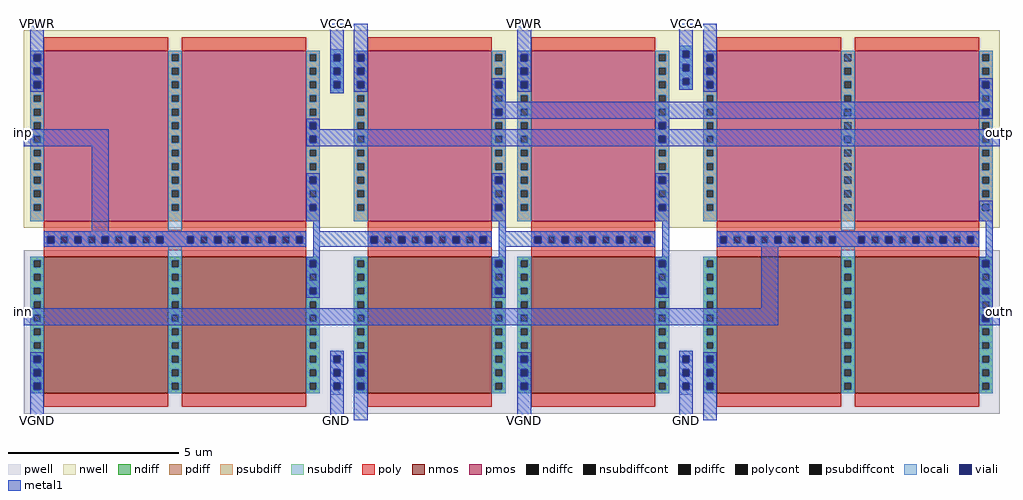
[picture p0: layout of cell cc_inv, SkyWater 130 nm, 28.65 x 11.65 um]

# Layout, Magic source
magic
tech sky130A
<< nwell >>
rect -30 1015 -10 1035
rect -30 975 -10 995
rect 780 815 800 835
rect 810 795 825 815
rect 830 525 890 1105
rect 920 1015 940 1035
rect 1400 1015 1420 1035
rect 1840 995 1940 1105
rect 1945 1015 1965 1035
rect 920 975 940 995
rect 1400 975 1420 995
rect 1840 975 1935 995
rect 1945 975 1965 995
rect 1335 955 1355 965
rect 1325 935 1355 955
rect 1335 920 1355 935
rect 1840 940 1940 975
rect 1840 915 1935 940
rect 1850 865 1925 915
rect 1805 655 1825 675
rect 1840 525 1940 865
rect 2730 855 2745 865
rect 2755 855 2775 875
rect 2730 845 2755 855
<< pwell >>
rect -60 -20 2805 460
rect -40 -40 0 -20
<< pmos >>
rect 2730 845 2745 865
<< ndiff >>
rect 2745 430 2785 440
<< pdiff >>
rect 1335 955 1355 965
rect 1345 935 1355 955
rect 1335 920 1355 935
rect 2745 845 2755 855
<< ndiffc >>
rect 1805 330 1825 350
rect 2755 330 2775 350
rect -30 90 -10 110
rect 920 90 940 110
rect 1400 90 1420 110
rect 1945 90 1965 110
rect -30 50 -10 70
rect 920 50 940 70
rect 1400 50 1420 70
rect 1945 50 1965 70
<< pdiffc >>
rect -30 1015 -10 1035
rect 920 1015 940 1035
rect 1400 1015 1420 1035
rect 1945 1015 1965 1035
rect -30 975 -10 995
rect 920 975 940 995
rect 1400 975 1420 995
rect 1945 975 1965 995
rect 1325 935 1345 955
rect 2755 855 2775 875
rect 780 815 800 835
rect 1805 655 1825 675
<< psubdiff >>
rect 840 150 880 165
rect 840 130 850 150
rect 870 130 880 150
rect 840 110 880 130
rect 1865 150 1905 165
rect 1865 130 1875 150
rect 1895 130 1905 150
rect 1865 110 1905 130
rect 840 90 850 110
rect 870 90 880 110
rect 1865 90 1875 110
rect 1895 90 1905 110
rect 840 70 880 90
rect 1865 70 1905 90
rect 840 50 850 70
rect 870 50 880 70
rect 1865 50 1875 70
rect 1895 50 1905 70
rect 840 35 880 50
rect 1865 35 1905 50
<< nsubdiff >>
rect 840 1035 880 1050
rect 1865 1045 1905 1060
rect 840 1015 850 1035
rect 870 1015 880 1035
rect 1865 1025 1875 1045
rect 1895 1025 1905 1045
rect 840 995 880 1015
rect 1865 1005 1905 1025
rect 840 975 850 995
rect 870 975 880 995
rect 1865 985 1875 1005
rect 1895 985 1905 1005
rect 840 955 880 975
rect 1865 965 1905 985
rect 840 935 850 955
rect 870 935 880 955
rect 840 920 880 935
rect 1865 945 1875 965
rect 1895 945 1905 965
rect 1865 930 1905 945
<< psubdiffcont >>
rect 850 130 870 150
rect 1875 130 1895 150
rect 850 90 870 110
rect 1875 90 1895 110
rect 850 50 870 70
rect 1875 50 1895 70
<< nsubdiffcont >>
rect 850 1015 870 1035
rect 1875 1025 1895 1045
rect 850 975 870 995
rect 1875 985 1895 1005
rect 850 935 870 955
rect 1875 945 1895 965
<< poly >>
rect 170 505 190 515
rect 365 470 405 515
rect 2340 470 2380 515
rect 2735 470 2745 515
<< polycont >>
rect 10 480 30 500
rect 50 480 70 500
rect 90 480 110 500
rect 130 480 150 500
rect 170 480 190 500
rect 210 480 230 500
rect 250 480 270 500
rect 290 480 310 500
rect 330 480 350 500
rect 420 480 440 500
rect 460 480 480 500
rect 500 480 520 500
rect 540 480 560 500
rect 580 480 600 500
rect 620 480 640 500
rect 660 480 680 500
rect 700 480 720 500
rect 740 480 760 500
rect 960 480 980 500
rect 1000 480 1020 500
rect 1040 480 1060 500
rect 1080 480 1100 500
rect 1120 480 1140 500
rect 1160 480 1180 500
rect 1200 480 1220 500
rect 1240 480 1260 500
rect 1280 480 1300 500
rect 1440 480 1460 500
rect 1480 480 1500 500
rect 1520 480 1540 500
rect 1560 480 1580 500
rect 1600 480 1620 500
rect 1640 480 1660 500
rect 1680 480 1700 500
rect 1720 480 1740 500
rect 1760 480 1780 500
rect 1985 480 2005 500
rect 2025 480 2045 500
rect 2065 480 2085 500
rect 2105 480 2125 500
rect 2145 480 2165 500
rect 2185 480 2205 500
rect 2225 480 2245 500
rect 2265 480 2285 500
rect 2305 480 2325 500
rect 2390 480 2410 500
rect 2430 480 2450 500
rect 2470 480 2490 500
rect 2510 480 2530 500
rect 2550 480 2570 500
rect 2590 480 2610 500
rect 2630 480 2650 500
rect 2670 480 2690 500
rect 2710 480 2730 500
<< locali >>
rect 840 1035 880 1050
rect 1865 1045 1905 1060
rect 840 1015 850 1035
rect 870 1015 880 1035
rect 1865 1025 1875 1045
rect 1895 1025 1905 1045
rect 840 995 880 1015
rect 1865 1005 1905 1025
rect 840 975 850 995
rect 870 975 880 995
rect 1865 985 1875 1005
rect 1895 985 1905 1005
rect 2340 995 2380 1045
rect 840 955 880 975
rect 1865 965 1905 985
rect 1335 955 1355 965
rect 840 935 850 955
rect 870 935 880 955
rect 1345 935 1355 955
rect 1865 945 1875 965
rect 1895 945 1905 965
rect 2340 960 2380 975
rect 840 920 880 935
rect 1335 920 1355 935
rect 1865 930 1905 945
rect 2375 940 2380 960
rect 2340 545 2380 865
rect 2745 845 2755 855
rect 2755 575 2775 595
rect 0 500 770 515
rect 0 480 10 500
rect 30 480 50 500
rect 70 480 90 500
rect 110 480 130 500
rect 150 480 170 500
rect 190 480 210 500
rect 230 480 250 500
rect 270 480 290 500
rect 310 480 330 500
rect 350 480 420 500
rect 440 480 460 500
rect 480 480 500 500
rect 520 480 540 500
rect 560 480 580 500
rect 600 480 620 500
rect 640 480 660 500
rect 680 480 700 500
rect 720 480 740 500
rect 760 480 770 500
rect 0 470 770 480
rect 790 440 810 545
rect 950 500 1315 515
rect 950 480 960 500
rect 980 480 1000 500
rect 1020 480 1040 500
rect 1060 480 1080 500
rect 1100 480 1120 500
rect 1140 480 1160 500
rect 1180 480 1200 500
rect 1220 480 1240 500
rect 1260 480 1280 500
rect 1300 480 1315 500
rect 950 470 1315 480
rect 1335 440 1355 545
rect 1430 500 1795 515
rect 1430 480 1440 500
rect 1460 480 1480 500
rect 1500 480 1520 500
rect 1540 480 1560 500
rect 1580 480 1600 500
rect 1620 480 1640 500
rect 1660 480 1680 500
rect 1700 480 1720 500
rect 1740 480 1760 500
rect 1780 480 1795 500
rect 1430 470 1795 480
rect 1815 440 1835 545
rect 1975 500 2745 515
rect 1975 480 1985 500
rect 2005 480 2025 500
rect 2045 480 2065 500
rect 2085 480 2105 500
rect 2125 480 2145 500
rect 2165 480 2185 500
rect 2205 480 2225 500
rect 2245 480 2265 500
rect 2285 480 2305 500
rect 2325 480 2390 500
rect 2410 480 2430 500
rect 2450 480 2470 500
rect 2490 480 2510 500
rect 2530 480 2550 500
rect 2570 480 2590 500
rect 2610 480 2630 500
rect 2650 480 2670 500
rect 2690 480 2710 500
rect 2730 480 2745 500
rect 1975 470 2745 480
rect 2765 440 2785 545
rect 2745 430 2785 440
rect 840 150 880 165
rect 1865 150 1905 165
rect 840 130 850 150
rect 870 130 880 150
rect 1865 130 1875 150
rect 1895 130 1905 150
rect 840 110 880 130
rect 1865 110 1905 130
rect 840 90 850 110
rect 870 90 880 110
rect 1865 90 1875 110
rect 1895 90 1905 110
rect 840 70 880 90
rect 1865 70 1905 90
rect 840 50 850 70
rect 870 50 880 70
rect 1865 50 1875 70
rect 1895 50 1905 70
rect 840 35 880 50
rect 1865 35 1905 50
<< viali >>
rect -30 1015 -10 1035
rect 850 1015 870 1035
rect 920 1015 940 1035
rect 1400 1015 1420 1035
rect 1875 1025 1895 1045
rect 1945 1015 1965 1035
rect -30 975 -10 995
rect 850 975 870 995
rect 920 975 940 995
rect 1400 975 1420 995
rect 1875 985 1895 1005
rect 1945 975 1965 995
rect -30 935 -10 955
rect 850 935 870 955
rect 920 935 940 955
rect 1325 935 1345 955
rect 1400 935 1420 955
rect 1875 945 1895 965
rect 1945 935 1965 955
rect 2755 935 2775 955
rect 1325 855 1345 875
rect 780 815 800 835
rect 1805 815 1825 835
rect 780 775 800 795
rect 1805 775 1825 795
rect 780 655 800 675
rect 1325 655 1345 675
rect 1805 655 1825 675
rect 780 575 800 595
rect 1325 575 1345 595
rect 1805 575 1825 595
rect 2755 855 2775 875
rect 10 480 30 500
rect 90 480 110 500
rect 170 480 190 500
rect 250 480 270 500
rect 330 480 350 500
rect 420 480 440 500
rect 500 480 520 500
rect 580 480 600 500
rect 660 480 680 500
rect 740 480 760 500
rect 960 480 980 500
rect 1040 480 1060 500
rect 1120 480 1140 500
rect 1200 480 1220 500
rect 1280 480 1300 500
rect 1440 480 1460 500
rect 1520 480 1540 500
rect 1600 480 1620 500
rect 1680 480 1700 500
rect 1760 480 1780 500
rect 1985 480 2005 500
rect 2065 480 2085 500
rect 2145 480 2165 500
rect 2225 480 2245 500
rect 2305 480 2325 500
rect 2390 480 2410 500
rect 2470 480 2490 500
rect 2550 480 2570 500
rect 2630 480 2650 500
rect 2710 480 2730 500
rect 780 410 800 430
rect 1325 410 1345 430
rect 1805 410 1825 430
rect 2755 410 2775 430
rect 780 330 800 350
rect 1325 330 1345 350
rect 1805 330 1825 350
rect 2755 330 2775 350
rect 2755 250 2775 270
rect -30 130 -10 150
rect 850 130 870 150
rect 920 130 940 150
rect 1400 130 1420 150
rect 1875 130 1895 150
rect 1945 130 1965 150
rect -30 90 -10 110
rect 850 90 870 110
rect 920 90 940 110
rect 1400 90 1420 110
rect 1875 90 1895 110
rect 1945 90 1965 110
rect -30 50 -10 70
rect 850 50 870 70
rect 920 50 940 70
rect 1400 50 1420 70
rect 1875 50 1895 70
rect 1945 50 1965 70
<< metal1 >>
rect -40 1035 0 1125
rect -40 1015 -30 1035
rect -10 1015 0 1035
rect -40 995 0 1015
rect -40 975 -30 995
rect -10 975 0 995
rect -40 955 0 975
rect -40 935 -30 955
rect -10 935 0 955
rect -40 925 0 935
rect 840 1035 880 1125
rect 840 1015 850 1035
rect 870 1015 880 1035
rect 840 995 880 1015
rect 840 975 850 995
rect 870 975 880 995
rect 840 955 880 975
rect 840 935 850 955
rect 870 935 880 955
rect 840 920 880 935
rect 910 1035 950 1125
rect 910 1015 920 1035
rect 940 1015 950 1035
rect 910 995 950 1015
rect 910 975 920 995
rect 940 975 950 995
rect 910 955 950 975
rect 1390 1035 1430 1125
rect 1390 1015 1400 1035
rect 1420 1015 1430 1035
rect 1390 995 1430 1015
rect 1390 975 1400 995
rect 1420 975 1430 995
rect 910 935 920 955
rect 940 935 950 955
rect 910 925 950 935
rect 1315 955 1355 965
rect 1315 935 1325 955
rect 1345 935 1355 955
rect 1315 895 1355 935
rect 1390 955 1430 975
rect 1390 935 1400 955
rect 1420 935 1430 955
rect 1390 925 1430 935
rect 1865 1045 1905 1125
rect 1865 1025 1875 1045
rect 1895 1025 1905 1045
rect 1865 1005 1905 1025
rect 1865 985 1875 1005
rect 1895 985 1905 1005
rect 1865 965 1905 985
rect 1865 945 1875 965
rect 1895 945 1905 965
rect 1865 930 1905 945
rect 1935 1035 1975 1125
rect 1935 1015 1945 1035
rect 1965 1015 1975 1035
rect 1935 995 1975 1015
rect 1935 975 1945 995
rect 1965 975 1975 995
rect 1935 955 1975 975
rect 1935 935 1945 955
rect 1965 935 1975 955
rect 1935 925 1975 935
rect 2745 955 2785 965
rect 2745 935 2755 955
rect 2775 935 2785 955
rect 2745 895 2785 935
rect 1315 875 2785 895
rect 1315 855 1325 875
rect 1345 855 2755 875
rect 2775 855 2785 875
rect 1315 845 2785 855
rect 770 835 810 845
rect 770 815 780 835
rect 800 815 810 835
rect 1795 835 1835 845
rect 1795 815 1805 835
rect 1825 815 1835 835
rect -60 765 190 815
rect 770 795 2805 815
rect 770 775 780 795
rect 800 775 1805 795
rect 1825 775 2805 795
rect 770 765 2805 775
rect 140 515 190 765
rect 770 675 810 685
rect 770 655 780 675
rect 800 655 810 675
rect 770 595 810 655
rect 770 575 780 595
rect 800 575 810 595
rect 770 545 810 575
rect 1315 675 1355 685
rect 1315 655 1325 675
rect 1345 655 1355 675
rect 1315 595 1355 655
rect 1315 575 1325 595
rect 1345 575 1355 595
rect 1315 545 1355 575
rect 1795 675 1835 685
rect 1795 655 1805 675
rect 1825 655 1835 675
rect 1795 595 1835 655
rect 1795 575 1805 595
rect 1825 575 1835 595
rect 1795 545 1835 575
rect 2745 545 2785 605
rect 790 515 810 545
rect 1335 515 1355 545
rect 0 500 770 515
rect 0 480 10 500
rect 30 480 90 500
rect 110 480 170 500
rect 190 480 250 500
rect 270 480 330 500
rect 350 480 420 500
rect 440 480 500 500
rect 520 480 580 500
rect 600 480 660 500
rect 680 480 740 500
rect 760 480 770 500
rect 0 470 770 480
rect 790 500 1315 515
rect 790 480 960 500
rect 980 480 1040 500
rect 1060 480 1120 500
rect 1140 480 1200 500
rect 1220 480 1280 500
rect 1300 480 1315 500
rect 790 470 1315 480
rect 1335 500 1795 515
rect 1335 480 1440 500
rect 1460 480 1520 500
rect 1540 480 1600 500
rect 1620 480 1680 500
rect 1700 480 1760 500
rect 1780 480 1795 500
rect 1335 470 1795 480
rect 790 440 810 470
rect 1335 440 1355 470
rect 1815 440 1835 545
rect 1975 500 2745 515
rect 1975 480 1985 500
rect 2005 480 2065 500
rect 2085 480 2145 500
rect 2165 480 2225 500
rect 2245 480 2305 500
rect 2325 480 2390 500
rect 2410 480 2470 500
rect 2490 480 2550 500
rect 2570 480 2630 500
rect 2650 480 2710 500
rect 2730 480 2745 500
rect 1975 470 2745 480
rect 770 430 810 440
rect 770 410 780 430
rect 800 410 810 430
rect 770 350 810 410
rect 770 330 780 350
rect 800 330 810 350
rect 770 320 810 330
rect 1315 430 1355 440
rect 1315 410 1325 430
rect 1345 410 1355 430
rect 1315 350 1355 410
rect 1315 330 1325 350
rect 1345 330 1355 350
rect 1315 320 1355 330
rect 1795 430 1835 440
rect 1795 410 1805 430
rect 1825 410 1835 430
rect 1795 350 1835 410
rect 1795 330 1805 350
rect 1825 330 1835 350
rect 1795 320 1835 330
rect 2105 290 2155 470
rect 2765 440 2785 545
rect -60 240 2155 290
rect 2745 430 2785 440
rect 2745 410 2755 430
rect 2775 410 2785 430
rect 2745 350 2785 410
rect 2745 330 2755 350
rect 2775 330 2785 350
rect 2745 290 2785 330
rect 2745 270 2805 290
rect 2745 250 2755 270
rect 2775 250 2805 270
rect 2745 240 2805 250
rect -40 150 0 160
rect -40 130 -30 150
rect -10 130 0 150
rect -40 110 0 130
rect -40 90 -30 110
rect -10 90 0 110
rect -40 70 0 90
rect -40 50 -30 70
rect -10 50 0 70
rect -40 -40 0 50
rect 840 150 880 165
rect 840 130 850 150
rect 870 130 880 150
rect 840 110 880 130
rect 840 90 850 110
rect 870 90 880 110
rect 840 70 880 90
rect 840 50 850 70
rect 870 50 880 70
rect 840 -40 880 50
rect 910 150 950 160
rect 910 130 920 150
rect 940 130 950 150
rect 910 110 950 130
rect 910 90 920 110
rect 940 90 950 110
rect 910 70 950 90
rect 910 50 920 70
rect 940 50 950 70
rect 910 -40 950 50
rect 1390 150 1430 160
rect 1390 130 1400 150
rect 1420 130 1430 150
rect 1390 110 1430 130
rect 1390 90 1400 110
rect 1420 90 1430 110
rect 1390 70 1430 90
rect 1390 50 1400 70
rect 1420 50 1430 70
rect 1390 -40 1430 50
rect 1865 150 1905 165
rect 1865 130 1875 150
rect 1895 130 1905 150
rect 1865 110 1905 130
rect 1865 90 1875 110
rect 1895 90 1905 110
rect 1865 70 1905 90
rect 1865 50 1875 70
rect 1895 50 1905 70
rect 1865 -40 1905 50
rect 1935 150 1975 160
rect 1935 130 1945 150
rect 1965 130 1975 150
rect 1935 110 1975 130
rect 1935 90 1945 110
rect 1965 90 1975 110
rect 1935 70 1975 90
rect 1935 50 1945 70
rect 1965 50 1975 70
rect 1935 -40 1975 50
use inv  inv_2
transform 1 0 950 0 1 545
box -60 -545 425 560
use inv  inv_3
transform 1 0 1430 0 1 545
box -60 -545 425 560
use main_inv_vco  main_inv_vco_0
transform 1 0 0 0 1 545
box -60 -545 830 560
use main_inv_vco  main_inv_vco_1
transform 1 0 1975 0 1 545
box -60 -545 830 560
<< labels >>
rlabel metal1 -60 805 -60 805 7 inp
port 1 w
rlabel metal1 -60 280 -60 280 7 inn
port 2 w
rlabel metal1 2805 805 2805 805 3 outp
port 3 e
rlabel metal1 2805 280 2805 280 3 outn
port 4 e
rlabel metal1 860 1125 860 1125 1 VCCA
port 5 n
rlabel metal1 1885 1125 1885 1125 1 VCCA
port 6 n
rlabel metal1 860 -40 860 -40 5 GND
port 7 s
rlabel metal1 1885 -40 1885 -40 5 GND
port 8 s
rlabel metal1 -20 1125 -20 1125 1 VPWR
port 9 n
rlabel metal1 930 1125 930 1125 1 VPWR
port 10 n
rlabel metal1 1410 1125 1410 1125 1 VPWR
port 11 n
rlabel metal1 1955 1125 1955 1125 1 VPWR
port 12 n
rlabel metal1 -20 -40 -20 -40 5 VGND
port 13 s
rlabel metal1 930 -40 930 -40 5 VGND
port 14 s
rlabel metal1 1410 -40 1410 -40 5 VGND
port 15 s
rlabel metal1 1955 -40 1955 -40 5 VGND
port 16 s
<< end >>

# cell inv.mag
magic
tech sky130A
<< nwell >>
rect -60 -20 425 560
<< nmos >>
rect 0 -505 365 -105
<< pmos >>
rect 0 0 365 500
<< ndiff >>
rect -40 -115 0 -105
rect -40 -135 -30 -115
rect -10 -135 0 -115
rect -40 -155 0 -135
rect -40 -175 -30 -155
rect -10 -175 0 -155
rect -40 -195 0 -175
rect -40 -215 -30 -195
rect -10 -215 0 -195
rect -40 -235 0 -215
rect -40 -255 -30 -235
rect -10 -255 0 -235
rect -40 -275 0 -255
rect -40 -295 -30 -275
rect -10 -295 0 -275
rect -40 -315 0 -295
rect -40 -335 -30 -315
rect -10 -335 0 -315
rect -40 -355 0 -335
rect -40 -375 -30 -355
rect -10 -375 0 -355
rect -40 -395 0 -375
rect -40 -415 -30 -395
rect -10 -415 0 -395
rect -40 -435 0 -415
rect -40 -455 -30 -435
rect -10 -455 0 -435
rect -40 -475 0 -455
rect -40 -495 -30 -475
rect -10 -495 0 -475
rect -40 -505 0 -495
rect 365 -115 405 -105
rect 365 -135 375 -115
rect 395 -135 405 -115
rect 365 -155 405 -135
rect 365 -175 375 -155
rect 395 -175 405 -155
rect 365 -195 405 -175
rect 365 -215 375 -195
rect 395 -215 405 -195
rect 365 -235 405 -215
rect 365 -255 375 -235
rect 395 -255 405 -235
rect 365 -275 405 -255
rect 365 -295 375 -275
rect 395 -295 405 -275
rect 365 -315 405 -295
rect 365 -335 375 -315
rect 395 -335 405 -315
rect 365 -355 405 -335
rect 365 -375 375 -355
rect 395 -375 405 -355
rect 365 -395 405 -375
rect 365 -415 375 -395
rect 395 -415 405 -395
rect 365 -435 405 -415
rect 365 -455 375 -435
rect 395 -455 405 -435
rect 365 -475 405 -455
rect 365 -495 375 -475
rect 395 -495 405 -475
rect 365 -505 405 -495
<< pdiff >>
rect -40 490 0 500
rect -40 470 -30 490
rect -10 470 0 490
rect -40 450 0 470
rect -40 430 -30 450
rect -10 430 0 450
rect -40 410 0 430
rect -40 390 -30 410
rect -10 390 0 410
rect -40 370 0 390
rect -40 350 -30 370
rect -10 350 0 370
rect -40 330 0 350
rect -40 310 -30 330
rect -10 310 0 330
rect -40 290 0 310
rect -40 270 -30 290
rect -10 270 0 290
rect -40 250 0 270
rect -40 230 -30 250
rect -10 230 0 250
rect -40 210 0 230
rect -40 190 -30 210
rect -10 190 0 210
rect -40 170 0 190
rect -40 150 -30 170
rect -10 150 0 170
rect -40 130 0 150
rect -40 110 -30 130
rect -10 110 0 130
rect -40 90 0 110
rect -40 70 -30 90
rect -10 70 0 90
rect -40 50 0 70
rect -40 30 -30 50
rect -10 30 0 50
rect -40 0 0 30
rect 365 490 405 500
rect 365 470 375 490
rect 395 470 405 490
rect 365 450 405 470
rect 365 430 375 450
rect 395 430 405 450
rect 365 410 405 430
rect 365 390 375 410
rect 395 390 405 410
rect 365 370 405 390
rect 365 350 375 370
rect 395 350 405 370
rect 365 330 405 350
rect 365 310 375 330
rect 395 310 405 330
rect 365 290 405 310
rect 365 270 375 290
rect 395 270 405 290
rect 365 250 405 270
rect 365 230 375 250
rect 395 230 405 250
rect 365 210 405 230
rect 365 190 375 210
rect 395 190 405 210
rect 365 170 405 190
rect 365 150 375 170
rect 395 150 405 170
rect 365 130 405 150
rect 365 110 375 130
rect 395 110 405 130
rect 365 90 405 110
rect 365 70 375 90
rect 395 70 405 90
rect 365 50 405 70
rect 365 30 375 50
rect 395 30 405 50
rect 365 0 405 30
<< ndiffc >>
rect -30 -135 -10 -115
rect -30 -175 -10 -155
rect -30 -215 -10 -195
rect -30 -255 -10 -235
rect -30 -295 -10 -275
rect -30 -335 -10 -315
rect -30 -375 -10 -355
rect -30 -415 -10 -395
rect -30 -455 -10 -435
rect -30 -495 -10 -475
rect 375 -135 395 -115
rect 375 -175 395 -155
rect 375 -215 395 -195
rect 375 -255 395 -235
rect 375 -295 395 -275
rect 375 -335 395 -315
rect 375 -375 395 -355
rect 375 -415 395 -395
rect 375 -455 395 -435
rect 375 -495 395 -475
<< pdiffc >>
rect -30 470 -10 490
rect -30 430 -10 450
rect -30 390 -10 410
rect -30 350 -10 370
rect -30 310 -10 330
rect -30 270 -10 290
rect -30 230 -10 250
rect -30 190 -10 210
rect -30 150 -10 170
rect -30 110 -10 130
rect -30 70 -10 90
rect -30 30 -10 50
rect 375 470 395 490
rect 375 430 395 450
rect 375 390 395 410
rect 375 350 395 370
rect 375 310 395 330
rect 375 270 395 290
rect 375 230 395 250
rect 375 190 395 210
rect 375 150 395 170
rect 375 110 395 130
rect 375 70 395 90
rect 375 30 395 50
<< poly >>
rect 0 500 365 540
rect 0 -105 365 0
rect 0 -545 365 -505
<< locali >>
rect -40 490 0 500
rect -40 470 -30 490
rect -10 470 0 490
rect -40 450 0 470
rect -40 430 -30 450
rect -10 430 0 450
rect -40 410 0 430
rect -40 390 -30 410
rect -10 390 0 410
rect -40 370 0 390
rect -40 350 -30 370
rect -10 350 0 370
rect -40 330 0 350
rect -40 310 -30 330
rect -10 310 0 330
rect -40 290 0 310
rect -40 270 -30 290
rect -10 270 0 290
rect -40 250 0 270
rect -40 230 -30 250
rect -10 230 0 250
rect -40 210 0 230
rect -40 190 -30 210
rect -10 190 0 210
rect -40 170 0 190
rect -40 150 -30 170
rect -10 150 0 170
rect -40 130 0 150
rect -40 110 -30 130
rect -10 110 0 130
rect -40 90 0 110
rect -40 70 -30 90
rect -10 70 0 90
rect -40 50 0 70
rect -40 30 -30 50
rect -10 30 0 50
rect -40 0 0 30
rect 365 490 405 500
rect 365 470 375 490
rect 395 470 405 490
rect 365 450 405 470
rect 365 430 375 450
rect 395 430 405 450
rect 365 410 405 430
rect 365 390 375 410
rect 395 390 405 410
rect 365 370 405 390
rect 365 350 375 370
rect 395 350 405 370
rect 365 330 405 350
rect 365 310 375 330
rect 395 310 405 330
rect 365 290 405 310
rect 365 270 375 290
rect 395 270 405 290
rect 365 250 405 270
rect 365 230 375 250
rect 395 230 405 250
rect 365 210 405 230
rect 365 190 375 210
rect 395 190 405 210
rect 365 170 405 190
rect 365 150 375 170
rect 395 150 405 170
rect 365 130 405 150
rect 365 110 375 130
rect 395 110 405 130
rect 365 90 405 110
rect 365 70 375 90
rect 395 70 405 90
rect 365 50 405 70
rect 365 30 375 50
rect 395 30 405 50
rect 365 0 405 30
rect -40 -115 0 -105
rect -40 -135 -30 -115
rect -10 -135 0 -115
rect -40 -155 0 -135
rect -40 -175 -30 -155
rect -10 -175 0 -155
rect -40 -195 0 -175
rect -40 -215 -30 -195
rect -10 -215 0 -195
rect -40 -235 0 -215
rect -40 -255 -30 -235
rect -10 -255 0 -235
rect -40 -275 0 -255
rect -40 -295 -30 -275
rect -10 -295 0 -275
rect -40 -315 0 -295
rect -40 -335 -30 -315
rect -10 -335 0 -315
rect -40 -355 0 -335
rect -40 -375 -30 -355
rect -10 -375 0 -355
rect -40 -395 0 -375
rect -40 -415 -30 -395
rect -10 -415 0 -395
rect -40 -435 0 -415
rect -40 -455 -30 -435
rect -10 -455 0 -435
rect -40 -475 0 -455
rect -40 -495 -30 -475
rect -10 -495 0 -475
rect -40 -505 0 -495
rect 365 -115 405 -105
rect 365 -135 375 -115
rect 395 -135 405 -115
rect 365 -155 405 -135
rect 365 -175 375 -155
rect 395 -175 405 -155
rect 365 -195 405 -175
rect 365 -215 375 -195
rect 395 -215 405 -195
rect 365 -235 405 -215
rect 365 -255 375 -235
rect 395 -255 405 -235
rect 365 -275 405 -255
rect 365 -295 375 -275
rect 395 -295 405 -275
rect 365 -315 405 -295
rect 365 -335 375 -315
rect 395 -335 405 -315
rect 365 -355 405 -335
rect 365 -375 375 -355
rect 395 -375 405 -355
rect 365 -395 405 -375
rect 365 -415 375 -395
rect 395 -415 405 -395
rect 365 -435 405 -415
rect 365 -455 375 -435
rect 395 -455 405 -435
rect 365 -475 405 -455
rect 365 -495 375 -475
rect 395 -495 405 -475
rect 365 -505 405 -495
<< end >>

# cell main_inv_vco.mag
magic
tech sky130A
<< nwell >>
rect -60 -20 830 560
<< nmos >>
rect 0 -505 365 -105
rect 405 -505 770 -105
<< pmos >>
rect 0 0 365 500
rect 405 0 770 500
<< ndiff >>
rect -40 -115 0 -105
rect -40 -135 -30 -115
rect -10 -135 0 -115
rect -40 -155 0 -135
rect -40 -175 -30 -155
rect -10 -175 0 -155
rect -40 -195 0 -175
rect -40 -215 -30 -195
rect -10 -215 0 -195
rect -40 -235 0 -215
rect -40 -255 -30 -235
rect -10 -255 0 -235
rect -40 -275 0 -255
rect -40 -295 -30 -275
rect -10 -295 0 -275
rect -40 -315 0 -295
rect -40 -335 -30 -315
rect -10 -335 0 -315
rect -40 -355 0 -335
rect -40 -375 -30 -355
rect -10 -375 0 -355
rect -40 -395 0 -375
rect -40 -415 -30 -395
rect -10 -415 0 -395
rect -40 -435 0 -415
rect -40 -455 -30 -435
rect -10 -455 0 -435
rect -40 -475 0 -455
rect -40 -495 -30 -475
rect -10 -495 0 -475
rect -40 -505 0 -495
rect 365 -115 405 -105
rect 365 -135 375 -115
rect 395 -135 405 -115
rect 365 -155 405 -135
rect 365 -175 375 -155
rect 395 -175 405 -155
rect 365 -195 405 -175
rect 365 -215 375 -195
rect 395 -215 405 -195
rect 365 -235 405 -215
rect 365 -255 375 -235
rect 395 -255 405 -235
rect 365 -275 405 -255
rect 365 -295 375 -275
rect 395 -295 405 -275
rect 365 -315 405 -295
rect 365 -335 375 -315
rect 395 -335 405 -315
rect 365 -355 405 -335
rect 365 -375 375 -355
rect 395 -375 405 -355
rect 365 -395 405 -375
rect 365 -415 375 -395
rect 395 -415 405 -395
rect 365 -435 405 -415
rect 365 -455 375 -435
rect 395 -455 405 -435
rect 365 -475 405 -455
rect 365 -495 375 -475
rect 395 -495 405 -475
rect 365 -505 405 -495
rect 770 -115 810 -105
rect 770 -135 780 -115
rect 800 -135 810 -115
rect 770 -155 810 -135
rect 770 -175 780 -155
rect 800 -175 810 -155
rect 770 -195 810 -175
rect 770 -215 780 -195
rect 800 -215 810 -195
rect 770 -235 810 -215
rect 770 -255 780 -235
rect 800 -255 810 -235
rect 770 -275 810 -255
rect 770 -295 780 -275
rect 800 -295 810 -275
rect 770 -315 810 -295
rect 770 -335 780 -315
rect 800 -335 810 -315
rect 770 -355 810 -335
rect 770 -375 780 -355
rect 800 -375 810 -355
rect 770 -395 810 -375
rect 770 -415 780 -395
rect 800 -415 810 -395
rect 770 -435 810 -415
rect 770 -455 780 -435
rect 800 -455 810 -435
rect 770 -475 810 -455
rect 770 -495 780 -475
rect 800 -495 810 -475
rect 770 -505 810 -495
<< pdiff >>
rect -40 490 0 500
rect -40 470 -30 490
rect -10 470 0 490
rect -40 450 0 470
rect -40 430 -30 450
rect -10 430 0 450
rect -40 410 0 430
rect -40 390 -30 410
rect -10 390 0 410
rect -40 370 0 390
rect -40 350 -30 370
rect -10 350 0 370
rect -40 330 0 350
rect -40 310 -30 330
rect -10 310 0 330
rect -40 290 0 310
rect -40 270 -30 290
rect -10 270 0 290
rect -40 250 0 270
rect -40 230 -30 250
rect -10 230 0 250
rect -40 210 0 230
rect -40 190 -30 210
rect -10 190 0 210
rect -40 170 0 190
rect -40 150 -30 170
rect -10 150 0 170
rect -40 130 0 150
rect -40 110 -30 130
rect -10 110 0 130
rect -40 90 0 110
rect -40 70 -30 90
rect -10 70 0 90
rect -40 50 0 70
rect -40 30 -30 50
rect -10 30 0 50
rect -40 0 0 30
rect 365 490 405 500
rect 365 470 375 490
rect 395 470 405 490
rect 365 450 405 470
rect 365 430 375 450
rect 395 430 405 450
rect 365 410 405 430
rect 365 390 375 410
rect 395 390 405 410
rect 365 370 405 390
rect 365 350 375 370
rect 395 350 405 370
rect 365 330 405 350
rect 365 310 375 330
rect 395 310 405 330
rect 365 290 405 310
rect 365 270 375 290
rect 395 270 405 290
rect 365 250 405 270
rect 365 230 375 250
rect 395 230 405 250
rect 365 210 405 230
rect 365 190 375 210
rect 395 190 405 210
rect 365 170 405 190
rect 365 150 375 170
rect 395 150 405 170
rect 365 130 405 150
rect 365 110 375 130
rect 395 110 405 130
rect 365 90 405 110
rect 365 70 375 90
rect 395 70 405 90
rect 365 50 405 70
rect 365 30 375 50
rect 395 30 405 50
rect 365 0 405 30
rect 770 490 810 500
rect 770 470 780 490
rect 800 470 810 490
rect 770 450 810 470
rect 770 430 780 450
rect 800 430 810 450
rect 770 410 810 430
rect 770 390 780 410
rect 800 390 810 410
rect 770 370 810 390
rect 770 350 780 370
rect 800 350 810 370
rect 770 330 810 350
rect 770 310 780 330
rect 800 310 810 330
rect 770 290 810 310
rect 770 270 780 290
rect 800 270 810 290
rect 770 250 810 270
rect 770 230 780 250
rect 800 230 810 250
rect 770 210 810 230
rect 770 190 780 210
rect 800 190 810 210
rect 770 170 810 190
rect 770 150 780 170
rect 800 150 810 170
rect 770 130 810 150
rect 770 110 780 130
rect 800 110 810 130
rect 770 90 810 110
rect 770 70 780 90
rect 800 70 810 90
rect 770 50 810 70
rect 770 30 780 50
rect 800 30 810 50
rect 770 0 810 30
<< ndiffc >>
rect -30 -135 -10 -115
rect -30 -175 -10 -155
rect -30 -215 -10 -195
rect -30 -255 -10 -235
rect -30 -295 -10 -275
rect -30 -335 -10 -315
rect -30 -375 -10 -355
rect -30 -415 -10 -395
rect -30 -455 -10 -435
rect -30 -495 -10 -475
rect 375 -135 395 -115
rect 375 -175 395 -155
rect 375 -215 395 -195
rect 375 -255 395 -235
rect 375 -295 395 -275
rect 375 -335 395 -315
rect 375 -375 395 -355
rect 375 -415 395 -395
rect 375 -455 395 -435
rect 375 -495 395 -475
rect 780 -135 800 -115
rect 780 -175 800 -155
rect 780 -215 800 -195
rect 780 -255 800 -235
rect 780 -295 800 -275
rect 780 -335 800 -315
rect 780 -375 800 -355
rect 780 -415 800 -395
rect 780 -455 800 -435
rect 780 -495 800 -475
<< pdiffc >>
rect -30 470 -10 490
rect -30 430 -10 450
rect -30 390 -10 410
rect -30 350 -10 370
rect -30 310 -10 330
rect -30 270 -10 290
rect -30 230 -10 250
rect -30 190 -10 210
rect -30 150 -10 170
rect -30 110 -10 130
rect -30 70 -10 90
rect -30 30 -10 50
rect 375 470 395 490
rect 375 430 395 450
rect 375 390 395 410
rect 375 350 395 370
rect 375 310 395 330
rect 375 270 395 290
rect 375 230 395 250
rect 375 190 395 210
rect 375 150 395 170
rect 375 110 395 130
rect 375 70 395 90
rect 375 30 395 50
rect 780 470 800 490
rect 780 430 800 450
rect 780 390 800 410
rect 780 350 800 370
rect 780 310 800 330
rect 780 270 800 290
rect 780 230 800 250
rect 780 190 800 210
rect 780 150 800 170
rect 780 110 800 130
rect 780 70 800 90
rect 780 30 800 50
<< poly >>
rect 0 500 365 540
rect 405 500 770 540
rect 0 -25 365 0
rect 405 -25 770 0
rect 0 -85 770 -25
rect 0 -105 365 -85
rect 405 -105 770 -85
rect 0 -545 365 -505
rect 405 -545 770 -505
<< locali >>
rect -40 490 0 500
rect -40 470 -30 490
rect -10 470 0 490
rect -40 450 0 470
rect -40 430 -30 450
rect -10 430 0 450
rect -40 410 0 430
rect -40 390 -30 410
rect -10 390 0 410
rect -40 370 0 390
rect -40 350 -30 370
rect -10 350 0 370
rect -40 330 0 350
rect -40 310 -30 330
rect -10 310 0 330
rect -40 290 0 310
rect -40 270 -30 290
rect -10 270 0 290
rect -40 250 0 270
rect -40 230 -30 250
rect -10 230 0 250
rect -40 210 0 230
rect -40 190 -30 210
rect -10 190 0 210
rect -40 170 0 190
rect -40 150 -30 170
rect -10 150 0 170
rect -40 130 0 150
rect -40 110 -30 130
rect -10 110 0 130
rect -40 90 0 110
rect -40 70 -30 90
rect -10 70 0 90
rect -40 50 0 70
rect -40 30 -30 50
rect -10 30 0 50
rect -40 0 0 30
rect 365 490 405 500
rect 365 470 375 490
rect 395 470 405 490
rect 365 450 405 470
rect 365 430 375 450
rect 395 430 405 450
rect 365 410 405 430
rect 365 390 375 410
rect 395 390 405 410
rect 365 370 405 390
rect 365 350 375 370
rect 395 350 405 370
rect 365 330 405 350
rect 365 310 375 330
rect 395 310 405 330
rect 365 290 405 310
rect 365 270 375 290
rect 395 270 405 290
rect 365 250 405 270
rect 365 230 375 250
rect 395 230 405 250
rect 365 210 405 230
rect 365 190 375 210
rect 395 190 405 210
rect 365 170 405 190
rect 365 150 375 170
rect 395 150 405 170
rect 365 130 405 150
rect 365 110 375 130
rect 395 110 405 130
rect 365 90 405 110
rect 365 70 375 90
rect 395 70 405 90
rect 365 50 405 70
rect 365 30 375 50
rect 395 30 405 50
rect -40 -115 0 -105
rect -40 -135 -30 -115
rect -10 -135 0 -115
rect -40 -155 0 -135
rect -40 -175 -30 -155
rect -10 -175 0 -155
rect -40 -195 0 -175
rect -40 -215 -30 -195
rect -10 -215 0 -195
rect -40 -235 0 -215
rect -40 -255 -30 -235
rect -10 -255 0 -235
rect -40 -275 0 -255
rect -40 -295 -30 -275
rect -10 -295 0 -275
rect -40 -315 0 -295
rect -40 -335 -30 -315
rect -10 -335 0 -315
rect -40 -355 0 -335
rect -40 -375 -30 -355
rect -10 -375 0 -355
rect -40 -395 0 -375
rect -40 -415 -30 -395
rect -10 -415 0 -395
rect -40 -435 0 -415
rect -40 -455 -30 -435
rect -10 -455 0 -435
rect -40 -475 0 -455
rect -40 -495 -30 -475
rect -10 -495 0 -475
rect -40 -505 0 -495
rect 365 -115 405 30
rect 770 490 810 500
rect 770 470 780 490
rect 800 470 810 490
rect 770 450 810 470
rect 770 430 780 450
rect 800 430 810 450
rect 770 410 810 430
rect 770 390 780 410
rect 800 390 810 410
rect 770 370 810 390
rect 770 350 780 370
rect 800 350 810 370
rect 770 330 810 350
rect 770 310 780 330
rect 800 310 810 330
rect 770 290 810 310
rect 770 270 780 290
rect 800 270 810 290
rect 770 250 810 270
rect 770 230 780 250
rect 800 230 810 250
rect 770 210 810 230
rect 770 190 780 210
rect 800 190 810 210
rect 770 170 810 190
rect 770 150 780 170
rect 800 150 810 170
rect 770 130 810 150
rect 770 110 780 130
rect 800 110 810 130
rect 770 90 810 110
rect 770 70 780 90
rect 800 70 810 90
rect 770 50 810 70
rect 770 30 780 50
rect 800 30 810 50
rect 770 0 810 30
rect 365 -135 375 -115
rect 395 -135 405 -115
rect 365 -155 405 -135
rect 365 -175 375 -155
rect 395 -175 405 -155
rect 365 -195 405 -175
rect 365 -215 375 -195
rect 395 -215 405 -195
rect 365 -235 405 -215
rect 365 -255 375 -235
rect 395 -255 405 -235
rect 365 -275 405 -255
rect 365 -295 375 -275
rect 395 -295 405 -275
rect 365 -315 405 -295
rect 365 -335 375 -315
rect 395 -335 405 -315
rect 365 -355 405 -335
rect 365 -375 375 -355
rect 395 -375 405 -355
rect 365 -395 405 -375
rect 365 -415 375 -395
rect 395 -415 405 -395
rect 365 -435 405 -415
rect 365 -455 375 -435
rect 395 -455 405 -435
rect 365 -475 405 -455
rect 365 -495 375 -475
rect 395 -495 405 -475
rect 365 -505 405 -495
rect 770 -115 810 -105
rect 770 -135 780 -115
rect 800 -135 810 -115
rect 770 -155 810 -135
rect 770 -175 780 -155
rect 800 -175 810 -155
rect 770 -195 810 -175
rect 770 -215 780 -195
rect 800 -215 810 -195
rect 770 -235 810 -215
rect 770 -255 780 -235
rect 800 -255 810 -235
rect 770 -275 810 -255
rect 770 -295 780 -275
rect 800 -295 810 -275
rect 770 -315 810 -295
rect 770 -335 780 -315
rect 800 -335 810 -315
rect 770 -355 810 -335
rect 770 -375 780 -355
rect 800 -375 810 -355
rect 770 -395 810 -375
rect 770 -415 780 -395
rect 800 -415 810 -395
rect 770 -435 810 -415
rect 770 -455 780 -435
rect 800 -455 810 -435
rect 770 -475 810 -455
rect 770 -495 780 -475
rect 800 -495 810 -475
rect 770 -505 810 -495
<< end >>
